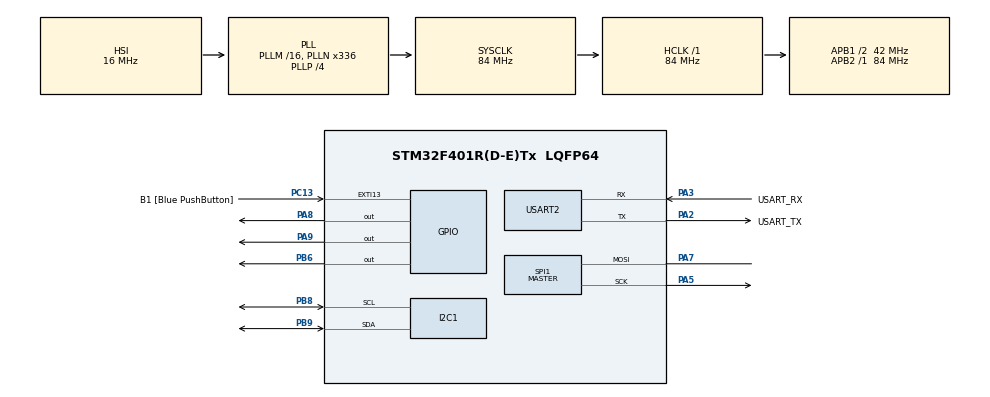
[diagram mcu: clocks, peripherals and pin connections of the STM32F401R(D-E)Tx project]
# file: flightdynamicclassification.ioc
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Mcu.Family=STM32F4
Mcu.Name=STM32F401R(D-E)Tx
Mcu.Package=LQFP64
NVIC.PriorityGroup=NVIC_PRIORITYGROUP_0
PA13.GPIO_Label=TMS
PA13.Mode=Serial_Wire
PA13.Signal=SYS_JTMS-SWDIO
PA14.GPIO_Label=TCK
PA14.Mode=Serial_Wire
PA14.Signal=SYS_JTCK-SWCLK
PA2.GPIO_Label=USART_TX
PA2.GPIO_Mode=GPIO_MODE_AF_PP
PA2.GPIO_PuPd=GPIO_NOPULL
PA2.GPIO_Speed=GPIO_SPEED_FREQ_LOW
PA2.Mode=Asynchronous
PA2.Signal=USART2_TX
PA3.GPIO_Label=USART_RX
PA3.GPIO_Mode=GPIO_MODE_AF_PP
PA3.GPIO_PuPd=GPIO_NOPULL
PA3.GPIO_Speed=GPIO_SPEED_FREQ_LOW
PA3.Mode=Asynchronous
PA3.Signal=USART2_RX
PA5.Mode=Simplex_Bidirectional_Master
PA5.Signal=SPI1_SCK
PA7.Mode=Simplex_Bidirectional_Master
PA7.Signal=SPI1_MOSI
PA8.Signal=GPIO_Output
PA9.Signal=GPIO_Output
PB3.GPIO_Label=SWO
PB3.Signal=SYS_JTDO-SWO
PB6.Signal=GPIO_Output
PB8.Mode=I2C
PB8.Signal=I2C1_SCL
PB9.Mode=I2C
PB9.Signal=I2C1_SDA
PC13-ANTI_TAMP.GPIO_Label=B1 [Blue PushButton]
PC13-ANTI_TAMP.GPIO_ModeDefaultEXTI=GPIO_MODE_IT_FALLING
PC13-ANTI_TAMP.GPIO_PuPd=GPIO_NOPULL
PC13-ANTI_TAMP.Signal=GPXTI13
PC14-OSC32_IN.Mode=LSE-External-Oscillator
PC14-OSC32_IN.Signal=RCC_OSC32_IN
PC15-OSC32_OUT.Mode=LSE-External-Oscillator
PC15-OSC32_OUT.Signal=RCC_OSC32_OUT
PH0\ -\ OSC_IN.Mode=HSE-External-Clock-Source
PH0\ -\ OSC_IN.Signal=RCC_OSC_IN
PH1\ -\ OSC_OUT.Mode=HSE-External-Clock-Source
PH1\ -\ OSC_OUT.Signal=RCC_OSC_OUT
ProjectManager.HeapSize=0x200
ProjectManager.StackSize=0x400
ProjectManager.TargetToolchain=STM32CubeIDE
RCC.48MHZClocksFreq_Value=48000000
RCC.AHBFreq_Value=84000000
RCC.APB1CLKDivider=RCC_HCLK_DIV2
RCC.APB1Freq_Value=42000000
RCC.APB1TimFreq_Value=84000000
RCC.APB2Freq_Value=84000000
RCC.APB2TimFreq_Value=84000000
RCC.CortexFreq_Value=84000000
RCC.HCLKFreq_Value=84000000
RCC.HSE_VALUE=8000000
RCC.HSI_VALUE=16000000
RCC.PLLN=336
RCC.PLLP=RCC_PLLP_DIV4
RCC.PLLQ=7
RCC.SYSCLKFreq_VALUE=84000000
RCC.SYSCLKSource=RCC_SYSCLKSOURCE_PLLCLK
RCC.VCOOutputFreq_Value=336000000
SPI1.Direction=SPI_DIRECTION_1LINE
SPI1.Mode=SPI_MODE_MASTER
SPI1.VirtualType=VM_MASTER
USART2.VirtualMode=VM_ASYNC
board=NUCLEO-F401RE

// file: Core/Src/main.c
/* USER CODE BEGIN Header */
/**
  ******************************************************************************
  * @file           : main.c
  * @brief          : Main program body
  ******************************************************************************
  * @attention
  *
  * Copyright (c) 2023 STMicroelectronics.
  * All rights reserved.
  *
  * This software is licensed under terms that can be found in the LICENSE file
  * in the root directory of this software component.
  * If no LICENSE file comes with this software, it is provided AS-IS.
  *
  ******************************************************************************
  */
/* USER CODE END Header */
#include "main.h"

/* USER CODE BEGIN Includes */
#include "mpu.h"
#include "stdio.h"
#include "string.h"
#include "NanoEdgeAI.h"
#include "knowledge.h"
#include "sh1106.h"
/* USER CODE END Includes */

/* USER CODE BEGIN PD */
#define DATA_INPUT_USER 256
#define AXIS_NUMBER 3
#define CONFIRMATIONS_NB	(uint32_t)(3)
/* USER CODE END PD */

I2C_HandleTypeDef hi2c1;

SPI_HandleTypeDef hspi1;

UART_HandleTypeDef huart2;

/* USER CODE BEGIN PV */
float mpu_buffer[DATA_INPUT_USER * AXIS_NUMBER] = {0};
float output_class_buffer[CLASS_NUMBER]; // Buffer of class probabilities
const char *id2class[CLASS_NUMBER + 1] = { // Buffer for mapping class id to class name
	"unknown",
	"Pitch",
	" Roll",
	"  Yaw",
};
/* USER CODE END PV */

void SystemClock_Config(void);
static void MX_GPIO_Init(void);
static void MX_USART2_UART_Init(void);
static void MX_I2C1_Init(void);
static void MX_SPI1_Init(void);
/* USER CODE BEGIN PFP */
void fill_mpu_buffer();
//void Log();
void Inference();
/* USER CODE END PFP */

int main(void)
{

  /* MCU Configuration--------------------------------------------------------*/

  /* Reset of all peripherals, Initializes the Flash interface and the Systick. */
  HAL_Init();

  /* Configure the system clock */
  SystemClock_Config();

  /* Initialize all configured peripherals */
  MX_GPIO_Init();
  MX_USART2_UART_Init();
  MX_I2C1_Init();
  MX_SPI1_Init();
  /* USER CODE BEGIN 2 */
  OLED_init();
  MPU6050_Init();
  enum neai_state error_code = neai_classification_init(knowledge);
    	if (error_code != NEAI_OK) {
    		/* This happens if the knowledge does not correspond to the library or if the library works into a not supported board. */
    		printf("Knowledge Initialization ERROR!");
    	}
    	else{
    		printf("Knowledge Initialization DONE!");
    	}
  HAL_Delay(1000);
  /* USER CODE END 2 */

  /* Infinite loop */
  /* USER CODE BEGIN WHILE */
  while (1)
  {
	  Inference();
	  //Log();
    /* USER CODE END WHILE */

  }
}

void SystemClock_Config(void)
{
  RCC_OscInitTypeDef RCC_OscInitStruct = {0};
  RCC_ClkInitTypeDef RCC_ClkInitStruct = {0};

  /** Configure the main internal regulator output voltage
  */
  __HAL_RCC_PWR_CLK_ENABLE();
  __HAL_PWR_VOLTAGESCALING_CONFIG(PWR_REGULATOR_VOLTAGE_SCALE2);

  /** Initializes the RCC Oscillators according to the specified parameters
  * in the RCC_OscInitTypeDef structure.
  */
  RCC_OscInitStruct.OscillatorType = RCC_OSCILLATORTYPE_HSI;
  RCC_OscInitStruct.HSIState = RCC_HSI_ON;
  RCC_OscInitStruct.HSICalibrationValue = RCC_HSICALIBRATION_DEFAULT;
  RCC_OscInitStruct.PLL.PLLState = RCC_PLL_ON;
  RCC_OscInitStruct.PLL.PLLSource = RCC_PLLSOURCE_HSI;
  RCC_OscInitStruct.PLL.PLLM = 16;
  RCC_OscInitStruct.PLL.PLLN = 336;
  RCC_OscInitStruct.PLL.PLLP = RCC_PLLP_DIV4;
  RCC_OscInitStruct.PLL.PLLQ = 7;
  if (HAL_RCC_OscConfig(&RCC_OscInitStruct) != HAL_OK)
  {
    Error_Handler();
  }

  /** Initializes the CPU, AHB and APB buses clocks
  */
  RCC_ClkInitStruct.ClockType = RCC_CLOCKTYPE_HCLK|RCC_CLOCKTYPE_SYSCLK
                              |RCC_CLOCKTYPE_PCLK1|RCC_CLOCKTYPE_PCLK2;
  RCC_ClkInitStruct.SYSCLKSource = RCC_SYSCLKSOURCE_PLLCLK;
  RCC_ClkInitStruct.AHBCLKDivider = RCC_SYSCLK_DIV1;
  RCC_ClkInitStruct.APB1CLKDivider = RCC_HCLK_DIV2;
  RCC_ClkInitStruct.APB2CLKDivider = RCC_HCLK_DIV1;

  if (HAL_RCC_ClockConfig(&RCC_ClkInitStruct, FLASH_LATENCY_2) != HAL_OK)
  {
    Error_Handler();
  }
}

static void MX_I2C1_Init(void)
{

  hi2c1.Instance = I2C1;
  hi2c1.Init.ClockSpeed = 100000;
  hi2c1.Init.DutyCycle = I2C_DUTYCYCLE_2;
  hi2c1.Init.OwnAddress1 = 0;
  hi2c1.Init.AddressingMode = I2C_ADDRESSINGMODE_7BIT;
  hi2c1.Init.DualAddressMode = I2C_DUALADDRESS_DISABLE;
  hi2c1.Init.OwnAddress2 = 0;
  hi2c1.Init.GeneralCallMode = I2C_GENERALCALL_DISABLE;
  hi2c1.Init.NoStretchMode = I2C_NOSTRETCH_DISABLE;
  if (HAL_I2C_Init(&hi2c1) != HAL_OK)
  {
    Error_Handler();
  }

}

static void MX_SPI1_Init(void)
{

  /* SPI1 parameter configuration*/
  hspi1.Instance = SPI1;
  hspi1.Init.Mode = SPI_MODE_MASTER;
  hspi1.Init.Direction = SPI_DIRECTION_1LINE;
  hspi1.Init.DataSize = SPI_DATASIZE_8BIT;
  hspi1.Init.CLKPolarity = SPI_POLARITY_LOW;
  hspi1.Init.CLKPhase = SPI_PHASE_1EDGE;
  hspi1.Init.NSS = SPI_NSS_SOFT;
  hspi1.Init.BaudRatePrescaler = SPI_BAUDRATEPRESCALER_2;
  hspi1.Init.FirstBit = SPI_FIRSTBIT_MSB;
  hspi1.Init.TIMode = SPI_TIMODE_DISABLE;
  hspi1.Init.CRCCalculation = SPI_CRCCALCULATION_DISABLE;
  hspi1.Init.CRCPolynomial = 10;
  if (HAL_SPI_Init(&hspi1) != HAL_OK)
  {
    Error_Handler();
  }

}

static void MX_USART2_UART_Init(void)
{

  huart2.Instance = USART2;
  huart2.Init.BaudRate = 115200;
  huart2.Init.WordLength = UART_WORDLENGTH_8B;
  huart2.Init.StopBits = UART_STOPBITS_1;
  huart2.Init.Parity = UART_PARITY_NONE;
  huart2.Init.Mode = UART_MODE_TX_RX;
  huart2.Init.HwFlowCtl = UART_HWCONTROL_NONE;
  huart2.Init.OverSampling = UART_OVERSAMPLING_16;
  if (HAL_UART_Init(&huart2) != HAL_OK)
  {
    Error_Handler();
  }

}

static void MX_GPIO_Init(void)
{
  GPIO_InitTypeDef GPIO_InitStruct = {0};

  /* GPIO Ports Clock Enable */
  __HAL_RCC_GPIOC_CLK_ENABLE();
  __HAL_RCC_GPIOH_CLK_ENABLE();
  __HAL_RCC_GPIOA_CLK_ENABLE();
  __HAL_RCC_GPIOB_CLK_ENABLE();

  /*Configure GPIO pin Output Level */
  HAL_GPIO_WritePin(GPIOA, GPIO_PIN_8|GPIO_PIN_9, GPIO_PIN_RESET);

  /*Configure GPIO pin Output Level */
  HAL_GPIO_WritePin(GPIOB, GPIO_PIN_6, GPIO_PIN_RESET);

  /*Configure GPIO pin : B1_Pin */
  GPIO_InitStruct.Pin = B1_Pin;
  GPIO_InitStruct.Mode = GPIO_MODE_IT_FALLING;
  GPIO_InitStruct.Pull = GPIO_NOPULL;
  HAL_GPIO_Init(B1_GPIO_Port, &GPIO_InitStruct);

  /*Configure GPIO pins : PA8 PA9 */
  GPIO_InitStruct.Pin = GPIO_PIN_8|GPIO_PIN_9;
  GPIO_InitStruct.Mode = GPIO_MODE_OUTPUT_PP;
  GPIO_InitStruct.Pull = GPIO_NOPULL;
  GPIO_InitStruct.Speed = GPIO_SPEED_FREQ_LOW;
  HAL_GPIO_Init(GPIOA, &GPIO_InitStruct);

  /*Configure GPIO pin : PB6 */
  GPIO_InitStruct.Pin = GPIO_PIN_6;
  GPIO_InitStruct.Mode = GPIO_MODE_OUTPUT_PP;
  GPIO_InitStruct.Pull = GPIO_NOPULL;
  GPIO_InitStruct.Speed = GPIO_SPEED_FREQ_LOW;
  HAL_GPIO_Init(GPIOB, &GPIO_InitStruct);

}

/* USER CODE BEGIN 4 */
void fill_mpu_buffer() {
	for (int i = 0; i < DATA_INPUT_USER; i++) {
		MPU6050_Read_Gyro(gyro_data);
		mpu_buffer[AXIS_NUMBER * i] = Gx;
		mpu_buffer[AXIS_NUMBER * i + 1] = Gy;
		mpu_buffer[AXIS_NUMBER * i + 2] = Gz;
	}
}

//void Log() {
//	fill_mpu_buffer();
//	for (int i = 0; i < DATA_INPUT_USER; i++) {
//	    	      printf("%.2f",mpu_buffer[AXIS_NUMBER * i]);
//	    	      printf(" ");
//	    	      printf("%.2f",mpu_buffer[AXIS_NUMBER * i + 1]);
//	    	      printf(" ");
//	              printf("%.2f",mpu_buffer[AXIS_NUMBER * i + 2]);
//	              printf(" ");
//	    	    }
//	    	  printf("\r\n");
//	    	  HAL_Delay(100);
//
//}

int __io_putchar(int ch) {
  HAL_UART_Transmit(&huart2, (uint8_t *)&ch, 1, HAL_MAX_DELAY);
  return ch;
}

void Inference(){
	uint16_t i, id_class_t0, id_class_tn;
	char str[3];
	fill_mpu_buffer();
	neai_classification(mpu_buffer, output_class_buffer, &id_class_t0);
	for(i=0; i<CONFIRMATIONS_NB-1; i++){
		fill_mpu_buffer();
		neai_classification(mpu_buffer, output_class_buffer, &id_class_tn);
		if(id_class_t0 != id_class_tn){
			break;
		}
		if(id_class_t0 == id_class_tn){
			printf("Detected Class:");
			printf(id2class[id_class_t0]);
			printf("\r\n");

			OLED_set_position(3, 5);
			printStr("Class: ");
			sprintf(str, "%s",id2class[id_class_t0]);
			printStr(str);
//			printStr("\r\n");
		}
		else{
			printf("?");
			printf("\r\n");

			OLED_set_position(3, 5);
			printStr("?");
			printStr(str);
			printStr("\r\n");
		}
	}
}
/* USER CODE END 4 */

void Error_Handler(void)
{
  __disable_irq();
  while (1)
  {
  }
}
